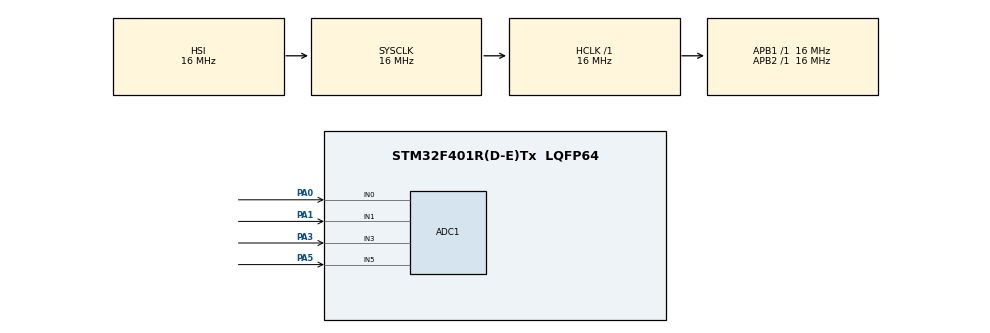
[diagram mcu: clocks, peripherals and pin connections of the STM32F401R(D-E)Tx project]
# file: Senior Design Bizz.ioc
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ADC1.Channel-0\#ChannelRegularConversion=ADC_CHANNEL_0
ADC1.Channel-1\#ChannelRegularConversion=ADC_CHANNEL_1
ADC1.NbrOfConversion=2
ADC1.NbrOfConversionFlag=1
ADC1.Rank-0\#ChannelRegularConversion=1
ADC1.Rank-1\#ChannelRegularConversion=2
ADC1.SamplingTime-0\#ChannelRegularConversion=ADC_SAMPLETIME_144CYCLES
ADC1.SamplingTime-1\#ChannelRegularConversion=ADC_SAMPLETIME_144CYCLES
ADC1.ScanConvMode=ENABLE
ADC1.master=1
Mcu.Family=STM32F4
Mcu.Name=STM32F401R(D-E)Tx
Mcu.Package=LQFP64
NVIC.PriorityGroup=NVIC_PRIORITYGROUP_4
PA0-WKUP.Signal=ADCx_IN0
PA1.Signal=ADCx_IN1
PA3.Signal=ADCx_IN3
PA5.Signal=ADCx_IN5
ProjectManager.HeapSize=0x200
ProjectManager.StackSize=0x400
ProjectManager.TargetToolchain=STM32CubeIDE
RCC.AHBFreq_Value=16000000
RCC.APB1Freq_Value=16000000
RCC.APB2Freq_Value=16000000
RCC.CortexFreq_Value=16000000
RCC.HSE_VALUE=25000000
RCC.HSI_VALUE=16000000
RCC.LSE_VALUE=32768
RCC.SYSCLKFreq_VALUE=16000000
RCC.VCOOutputFreq_Value=192000000
SH.ADCx_IN0.0=ADC1_IN0,IN0
SH.ADCx_IN1.0=ADC1_IN1,IN1
SH.ADCx_IN3.0=ADC1_IN3,IN3
SH.ADCx_IN5.0=ADC1_IN5,IN5
board=custom

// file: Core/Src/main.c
/* USER CODE BEGIN Header */
/**
  ******************************************************************************
  * @file           : main.c
  * @brief          : Main program body
  ******************************************************************************
  * @attention
  *
  * Copyright (c) 2026 STMicroelectronics.
  * All rights reserved.
  *
  * This software is licensed under terms that can be found in the LICENSE file
  * in the root directory of this software component.
  * If no LICENSE file comes with this software, it is provided AS-IS.
  *
  ******************************************************************************
  */
/* USER CODE END Header */
#include "main.h"
#include <math.h>

ADC_HandleTypeDef hadc1;

/* USER CODE BEGIN PV */
volatile uint16_t vmin = 4095;
volatile uint16_t vmax = 0;
volatile uint16_t dbg_v = 0;

volatile uint16_t center = 0;     // counts
volatile float vrms_adc = 0.0f;   // Vrms at ADC_VAC
volatile float vrms_hot = 0.0f;   // Vrms at AC_HOT (estimated)
volatile float f_est = 0.0f;
volatile float k_used = 0.0f;

volatile uint16_t dbg_iac = 0;      // raw ADC code for PA1 (current channel)
volatile uint16_t iac_center = 0;   // center for current channel
volatile float vrms_iac_adc = 0.0f; // Vrms at ADC_IAC node (volts)
volatile float irms_loop = 0.0f;    // estimated loop current (Arms)
volatile float p_real = 0.0f;       // watts
volatile float s_apparent = 0.0f;   // VA
volatile float pf = 0.0f;           // unitless
static uint32_t warmup = 0;
volatile float pf_filt = 0.0f;      // filtered PF for stability

static int8_t i_polarity = -1;
static uint8_t neg_count = 0;
static uint32_t last_cross_ms = 0;
static uint8_t  armed_rise = 1;
static uint32_t win_t0 = 0;

volatile uint16_t cap_v[256];
volatile uint16_t cap_i[256];
volatile uint16_t cap_idx = 0;
volatile uint8_t  cap_done = 0;
volatile float pf_now = 0.0f;
volatile float pf_i1  = 0.0f;
volatile float pf_v1  = 0.0f;

//DC ADD Variables....4/1
volatile uint16_t dbg_idc = 0;      // raw ADC code for PA3 (DC current)
volatile uint16_t dbg_vdc = 0;      // raw ADC code for PA4 (DC voltage)

volatile float idc_adc_volts = 0.0f; // sensor voltage seen at PA3
volatile float vdc_adc_volts = 0.0f; // sensor voltage seen at PA4

volatile float dc_current = 0.0f;    // final DC current in amps
volatile float dc_voltage = 0.0f;    // final DC voltage in volts

/* USER CODE END PV */

void SystemClock_Config(void);
static void MX_GPIO_Init(void);
static void MX_ADC1_Init(void);

/* USER CODE BEGIN 0 */

static void adc_read_four(ADC_HandleTypeDef *hadc,
                          uint16_t *ch0, uint16_t *ch1,
                          uint16_t *ch2, uint16_t *ch3)
{
    if (HAL_ADC_Start(hadc) != HAL_OK) {
        *ch0 = *ch1 = *ch2 = *ch3 = 0xEEEF;
        return;
    }

    if (HAL_ADC_PollForConversion(hadc, 100) != HAL_OK) {
        HAL_ADC_Stop(hadc);
        *ch0 = *ch1 = *ch2 = *ch3 = 0xFFFF;
        return;
    }
    *ch0 = (uint16_t)HAL_ADC_GetValue(hadc);   // Rank 1

    if (HAL_ADC_PollForConversion(hadc, 100) != HAL_OK) {
        HAL_ADC_Stop(hadc);
        *ch0 = *ch1 = *ch2 = *ch3 = 0xFFFF;
        return;
    }
    *ch1 = (uint16_t)HAL_ADC_GetValue(hadc);   // Rank 2

    if (HAL_ADC_PollForConversion(hadc, 100) != HAL_OK) {
        HAL_ADC_Stop(hadc);
        *ch0 = *ch1 = *ch2 = *ch3 = 0xFFFF;
        return;
    }
    *ch2 = (uint16_t)HAL_ADC_GetValue(hadc);   // Rank 3

    if (HAL_ADC_PollForConversion(hadc, 100) != HAL_OK) {
        HAL_ADC_Stop(hadc);
        *ch0 = *ch1 = *ch2 = *ch3 = 0xFFFF;
        return;
    }
    *ch3 = (uint16_t)HAL_ADC_GetValue(hadc);   // Rank 4

    HAL_ADC_Stop(hadc);
}

/* USER CODE END 0 */

int main(void)
{

  /* MCU Configuration--------------------------------------------------------*/

  /* Reset of all peripherals, Initializes the Flash interface and the Systick. */
  HAL_Init();

  /* Configure the system clock */
  SystemClock_Config();

  /* Initialize all configured peripherals */
  MX_GPIO_Init();
  MX_ADC1_Init();
  /* USER CODE BEGIN 2 */
  center = 2048;
  iac_center = 2048;
  warmup = 0;
  win_t0 = HAL_GetTick();
  /* USER CODE END 2 */

  /* Infinite loop */
  /* USER CODE BEGIN WHILE */
  while (1)
  {

      // ============================================================
      // 0) CONSTANTS / SCALE FACTORS
      // ============================================================
      // ADC reference (measured), and conversion from 12-bit counts -> volts at ADC pin
      const float VREF = 3.319f;
      const float COUNTS_TO_VOLTS = VREF / 4095.0f;

      // Voltage divider gain to map ADC_VAC node back to "AC_HOT"
      const float DIV_GAIN = (1000000.0f + 15000.0f) / 15000.0f;

      // Empirical correction factors for 60 Hz vs 120 Hz behavior (calibration)
      const float K60  = 1.36f;
      const float K120 = 1.68f;

      // Current chain parameters:
      // RB = burden resistor (ohms)
      // CT_RATIO = CST-1005 is ~1000:1
      // N_TURNS = passes through CT window
      // K_I = empirical current calibration factor
      const float RB = 100.0f;
      const float CT_RATIO = 1000.0f;
      const float N_TURNS = 8.0f;
      const float K_I = 1.13f;

      // DC Stuff 4/1
      // DC sensing constants
       const float DC_ADC_REF = 2.66f;
       const float DC_COUNTS_TO_VOLTS = DC_ADC_REF / 4095.0f;

     // ACS712 calibration
       const float ACS712_ZERO_VOLTAGE = 2.55f;   // measured output at 0 A
       const float ACS712_SENSITIVITY  = 0.185f;  // 5A version = 185 mV/A
       const float VOLTAGE_RATIO = (100000.0f + 5600.0f) / 5600.0f;

      // Zero-cross deadband (counts) to avoid noise-triggered crossings
      const int32_t ZC_DB = 30;

      // ============================================================
      // 1) "WINDOW" ACCUMULATORS (STATIC = PERSIST ACROSS LOOPS)
      //    We integrate for ~1 second, then compute mean/RMS/power/PF
      // ============================================================
      static uint32_t n = 0;       // number of samples inside current window

      // Sums for mean and variance (in ADC counts domain)
      // sum_v, sum_i -> compute mean (center)
      // sum_v2, sum_i2 -> compute variance -> RMS
      // sum_vi -> compute covariance -> real power (after scaling)
      static double sum_v  = 0.0;
      static double sum_i  = 0.0;
      static double sum_v2 = 0.0;
      static double sum_i2 = 0.0;
      static double sum_vi = 0.0;

      // Cross-correlation variants to compensate small channel timing skew:
      // sum_vi_i1 uses i[n-1] with v[n]
      // sum_vi_v1 uses v[n-1] with i[n]
      // One of these often gives “cleaner” power/PF on a breadboard/2-sample ADC read.
      static double sum_vi_i1 = 0.0;   // v[n]   * i[n-1]
      static double sum_vi_v1 = 0.0;   // v[n-1] * i[n]

      // Previous samples needed for the i[n-1] and v[n-1] terms
      static int32_t prev_v_counts = 0;
      static int32_t prev_i_counts = 0;
      static uint8_t have_prev = 0;

      // 60/120 selection state
      static uint8_t use_k120 = 0;

      // PF filter state
      static uint8_t pf_filt_init = 0;

      // ============================================================
      // 2) SAMPLE ADC CHANNELS (PA0 = voltage, PA1 = current)
      // ============================================================
      // DC Update Adds 4/1
      adc_read_four(&hadc1, &dbg_v, &dbg_iac, &dbg_idc, &dbg_vdc);

      // DC update 4/1
      idc_adc_volts = ((float)dbg_idc * DC_ADC_REF) / 4095.0f;
      vdc_adc_volts = dbg_vdc * DC_COUNTS_TO_VOLTS;
      // ACS712 current calculation
      dc_current = (idc_adc_volts - ACS712_ZERO_VOLTAGE) / ACS712_SENSITIVITY;

      dc_voltage = vdc_adc_volts * VOLTAGE_RATIO;

      // Track min/max of voltage raw ADC (debug / sanity check)
      if (dbg_v < vmin) vmin = dbg_v;
      if (dbg_v > vmax) vmax = dbg_v;

      // ============================================================
      // 3) FREQUENCY ESTIMATE (RISING ZERO-CROSS FROM VOLTAGE CHANNEL)
      //    Uses center (mean) as the “zero” reference + deadband.
      // ============================================================
      int32_t x_v = (int32_t)dbg_v - (int32_t)center; // voltage sample relative to center

      // Arm the rising-cross detector only after we are confidently negative
      if (x_v < -ZC_DB)
      {
          armed_rise = 1;
      }

      // Rising crossing: from negative region to positive region beyond deadband
      if (armed_rise && x_v > ZC_DB)
      {
          uint32_t now_ms = HAL_GetTick();

          if (last_cross_ms != 0)
          {
              uint32_t dt_ms = now_ms - last_cross_ms;

              // dt_ms ~ 16.7 ms for 60 Hz, ~ 8.3 ms for 120 Hz
              // You gate to a reasonable band to reject false crossings
              if (dt_ms >= 12 && dt_ms <= 25)
              {
                  float f_new = 1000.0f / (float)dt_ms;

                  // Low-pass filter frequency estimate for stability
                  if (f_est <= 0.0f)
                      f_est = f_new;
                  else
                      f_est = 0.80f * f_est + 0.20f * f_new;
              }
          }

          last_cross_ms = now_ms;
          armed_rise = 0; // disarm until we go negative again
      }

      // ============================================================
      // 4) ACCUMULATE WINDOW STATS IN "COUNTS DOMAIN"
      //    We compute mean, variance, covariance later.
      // ============================================================
      sum_v  += (double)dbg_v;
      sum_i  += (double)dbg_iac;

      sum_v2 += (double)dbg_v   * (double)dbg_v;
      sum_i2 += (double)dbg_iac * (double)dbg_iac;

      // Raw product sum (counts*counts); covariance will be derived later
      sum_vi += (double)dbg_v * (double)dbg_iac;

      // Lagged product sums (for skew compensation)
      if (have_prev)
      {
          sum_vi_i1 += (double)dbg_v        * (double)prev_i_counts; // v[n]*i[n-1]
          sum_vi_v1 += (double)prev_v_counts * (double)dbg_iac;      // v[n-1]*i[n]
      }

      // Update previous sample memory
      prev_v_counts = (int32_t)dbg_v;
      prev_i_counts = (int32_t)dbg_iac;
      have_prev = 1;

      n++; // one more sample in this window

      // ============================================================
      // 5) ONCE PER ~1 SECOND: FINALIZE WINDOW, COMPUTE OUTPUTS,
      //    THEN RESET ACCUMULATORS
      // ============================================================
      if ((HAL_GetTick() - win_t0) >= 1000)
      {
          if (n == 0) n = 1; // safety

          // ----------------------------
          // 5a) Compute means (centers)
          // ----------------------------
          double mean_v = sum_v / (double)n;
          double mean_i = sum_i / (double)n;

          // Center counts for each channel
          center     = (uint16_t)(mean_v + 0.5);
          iac_center = (uint16_t)(mean_i + 0.5);

          // ----------------------------
          // 5b) Variance -> RMS at ADC pins
          // ----------------------------
          // variance = E[x^2] - (E[x])^2  (counts^2)
          double var_v = (sum_v2 / (double)n) - (mean_v * mean_v);
          double var_i = (sum_i2 / (double)n) - (mean_i * mean_i);

          // Covariance (counts^2) -> proportional to real power
          // covariance = E[vi] - E[v]E[i]
          double cov_vi    = (sum_vi / (double)n)    - (mean_v * mean_i);
          double cov_vi_i1 = (sum_vi_i1 / (double)n) - (mean_v * mean_i);
          double cov_vi_v1 = (sum_vi_v1 / (double)n) - (mean_v * mean_i);

          // Numerical guard against tiny negative due to floating rounding
          if (var_v < 0.0) var_v = 0.0;
          if (var_i < 0.0) var_i = 0.0;

          // Convert variance(counts^2) -> Vrms at ADC pin:
          // sqrt(var_counts) gives counts_rms; multiply by counts->volts
          vrms_adc     = sqrtf((float)var_v) * COUNTS_TO_VOLTS;
          vrms_iac_adc = sqrtf((float)var_i) * COUNTS_TO_VOLTS;

          // ----------------------------
          // 5c) Decide which voltage calibration to use (60 vs 120)
          // ----------------------------
          // f_est is in Hz-ish; your thresholding is tuned to your estimator behavior
          if (!use_k120) { if (f_est > 95.0f) use_k120 = 1; }
          else           { if (f_est < 75.0f) use_k120 = 0; }

          k_used = use_k120 ? K120 : K60;

          // Scale Vrms from ADC pin back to actual AC_HOT
          vrms_hot = vrms_adc * DIV_GAIN * k_used;

          // ----------------------------
          // 5d) Convert current channel voltage -> loop current
          // ----------------------------
          // Vrms across burden -> secondary current:
          float isec = vrms_iac_adc / RB;

          // CT ratio and turns map secondary to primary:
          // Iprimary ≈ Isec * CT_RATIO / N_TURNS
          float iloop_raw = (isec * CT_RATIO) / N_TURNS;

          // Empirical correction
          irms_loop = iloop_raw * K_I;

          // These “scale” constants convert counts-domain covariance into real-world watts
          const float V_SCALE = DIV_GAIN * k_used;               // ADC volts -> HOT volts
          const float I_SCALE = (CT_RATIO / N_TURNS) / RB * K_I; // ADC volts -> LOOP amps

          // Apparent power
          s_apparent = vrms_hot * irms_loop;

          // Reset “instant” outputs before computing (keeps debugger clean)
          p_real = 0.0f;
          pf     = 0.0f;
          pf_now = 0.0f;
          pf_i1  = 0.0f;
          pf_v1  = 0.0f;

          // ----------------------------
          // 5e) Warmup: ignore first couple windows until centers settle
          // ----------------------------
          if (warmup < 2)
          {
              warmup++;
          }
          else
          {
              // ----------------------------
              // 5f) Real power from covariance
              // ----------------------------
              // cov_vi is in counts^2. Multiply by (counts->volts)^2 to get volts^2 at ADC pins,
              // then scale to HOT volts and LOOP amps, and apply i_polarity sign.
              float p_now = (float)cov_vi * COUNTS_TO_VOLTS * COUNTS_TO_VOLTS
                          * V_SCALE * I_SCALE * (float)i_polarity;

              float p_i1 = (float)cov_vi_i1 * COUNTS_TO_VOLTS * COUNTS_TO_VOLTS
                         * V_SCALE * I_SCALE * (float)i_polarity;

              float p_v1 = (float)cov_vi_v1 * COUNTS_TO_VOLTS * COUNTS_TO_VOLTS
                         * V_SCALE * I_SCALE * (float)i_polarity;

              // Gate if signals are too small (avoid dividing noise)
              if (vrms_adc >= 0.005f && vrms_iac_adc >= 0.005f && s_apparent > 1e-6f)
              {
                  // PF candidates for three alignment choices
                  pf_now = p_now / s_apparent;
                  pf_i1  = p_i1  / s_apparent;
                  pf_v1  = p_v1  / s_apparent;

                  // Clamp candidates to [-1,1]
                  if (pf_now > 1.0f)  pf_now = 1.0f;
                  if (pf_now < -1.0f) pf_now = -1.0f;

                  if (pf_i1 > 1.0f)   pf_i1 = 1.0f;
                  if (pf_i1 < -1.0f)  pf_i1 = -1.0f;

                  if (pf_v1 > 1.0f)   pf_v1 = 1.0f;
                  if (pf_v1 < -1.0f)  pf_v1 = -1.0f;

                  // Current choice: use i[n-1] alignment as the official output
                  // (often best when voltage and current samples are slightly time-skewed)
                  p_real = p_i1;
                  pf     = pf_i1;
              }
          }

          // ----------------------------
          // 5g) PF low-pass filter (smooth display)
          // ----------------------------
          // If conditions are bad, reset filter to 0 and require re-init next good window.
          if (warmup < 2 || s_apparent < 1e-6f || vrms_adc < 0.005f || vrms_iac_adc < 0.005f)
          {
              pf_filt = 0.0f;
              pf_filt_init = 0;
          }
          else
          {
              // First good window: snap filter to PF (no long “creep”)
              if (!pf_filt_init)
              {
                  pf_filt = pf;
                  pf_filt_init = 1;
              }
              else
              {
                  // Then exponential smoothing
                  pf_filt = 0.90f * pf_filt + 0.10f * pf;
              }
          }

          // ----------------------------
          // 5h) Reset window accumulators for next ~1 second window
          // ----------------------------
          n = 0;

          sum_v  = 0.0;
          sum_i  = 0.0;
          sum_v2 = 0.0;
          sum_i2 = 0.0;
          sum_vi = 0.0;
          sum_vi_i1 = 0.0;
          sum_vi_v1 = 0.0;

          have_prev = 0;
          prev_v_counts = 0;
          prev_i_counts = 0;

          vmin = 4095;
          vmax = 0;

          // restart 1-second timer
          win_t0 = HAL_GetTick();
      }
  }
    /* USER CODE END WHILE */

  }

void SystemClock_Config(void)
{
  RCC_OscInitTypeDef RCC_OscInitStruct = {0};
  RCC_ClkInitTypeDef RCC_ClkInitStruct = {0};

  /** Configure the main internal regulator output voltage
  */
  __HAL_RCC_PWR_CLK_ENABLE();
  __HAL_PWR_VOLTAGESCALING_CONFIG(PWR_REGULATOR_VOLTAGE_SCALE2);

  /** Initializes the RCC Oscillators according to the specified parameters
  * in the RCC_OscInitTypeDef structure.
  */
  RCC_OscInitStruct.OscillatorType = RCC_OSCILLATORTYPE_HSI;
  RCC_OscInitStruct.HSIState = RCC_HSI_ON;
  RCC_OscInitStruct.HSICalibrationValue = RCC_HSICALIBRATION_DEFAULT;
  RCC_OscInitStruct.PLL.PLLState = RCC_PLL_NONE;
  if (HAL_RCC_OscConfig(&RCC_OscInitStruct) != HAL_OK)
  {
    Error_Handler();
  }

  /** Initializes the CPU, AHB and APB buses clocks
  */
  RCC_ClkInitStruct.ClockType = RCC_CLOCKTYPE_HCLK|RCC_CLOCKTYPE_SYSCLK
                              |RCC_CLOCKTYPE_PCLK1|RCC_CLOCKTYPE_PCLK2;
  RCC_ClkInitStruct.SYSCLKSource = RCC_SYSCLKSOURCE_HSI;
  RCC_ClkInitStruct.AHBCLKDivider = RCC_SYSCLK_DIV1;
  RCC_ClkInitStruct.APB1CLKDivider = RCC_HCLK_DIV1;
  RCC_ClkInitStruct.APB2CLKDivider = RCC_HCLK_DIV1;

  if (HAL_RCC_ClockConfig(&RCC_ClkInitStruct, FLASH_LATENCY_0) != HAL_OK)
  {
    Error_Handler();
  }
}

static void MX_ADC1_Init(void)
{

  ADC_ChannelConfTypeDef sConfig = {0};

  /** Configure the global features of the ADC (Clock, Resolution, Data Alignment and number of conversion)
  */
  hadc1.Instance = ADC1;
  hadc1.Init.ClockPrescaler = ADC_CLOCK_SYNC_PCLK_DIV2;
  hadc1.Init.Resolution = ADC_RESOLUTION_12B;
  hadc1.Init.ScanConvMode = ENABLE;
  hadc1.Init.ContinuousConvMode = DISABLE;
  hadc1.Init.DiscontinuousConvMode = DISABLE;
  hadc1.Init.ExternalTrigConvEdge = ADC_EXTERNALTRIGCONVEDGE_NONE;
  hadc1.Init.ExternalTrigConv = ADC_SOFTWARE_START;
  hadc1.Init.DataAlign = ADC_DATAALIGN_RIGHT;
  hadc1.Init.NbrOfConversion = 4;
  hadc1.Init.DMAContinuousRequests = DISABLE;
  hadc1.Init.EOCSelection = ADC_EOC_SINGLE_CONV;
  if (HAL_ADC_Init(&hadc1) != HAL_OK)
  {
    Error_Handler();
  }

  /** Configure for the selected ADC regular channel its corresponding rank in the sequencer and its sample time.
  */
  sConfig.Channel = ADC_CHANNEL_0;
  sConfig.Rank = 1;
  sConfig.SamplingTime = ADC_SAMPLETIME_480CYCLES;
  if (HAL_ADC_ConfigChannel(&hadc1, &sConfig) != HAL_OK)
  {
    Error_Handler();
  }

  /** Configure for the selected ADC regular channel its corresponding rank in the sequencer and its sample time.
  */
  sConfig.Channel = ADC_CHANNEL_1;
  sConfig.Rank = 2;
  if (HAL_ADC_ConfigChannel(&hadc1, &sConfig) != HAL_OK)
  {
    Error_Handler();
  }

 // DC Update 4/1
  sConfig.Channel = ADC_CHANNEL_5;
  sConfig.Rank = 3;
  if (HAL_ADC_ConfigChannel(&hadc1, &sConfig) != HAL_OK)
  {
      Error_Handler();
  }

  sConfig.Channel = ADC_CHANNEL_4;
  sConfig.Rank = 4;
  if (HAL_ADC_ConfigChannel(&hadc1, &sConfig) != HAL_OK)
  {
      Error_Handler();
  }

}

static void MX_GPIO_Init(void)
{

  /* GPIO Ports Clock Enable */
  __HAL_RCC_GPIOA_CLK_ENABLE();

}

void Error_Handler(void)
{
  __disable_irq();
  while (1)
  {
  }
}
